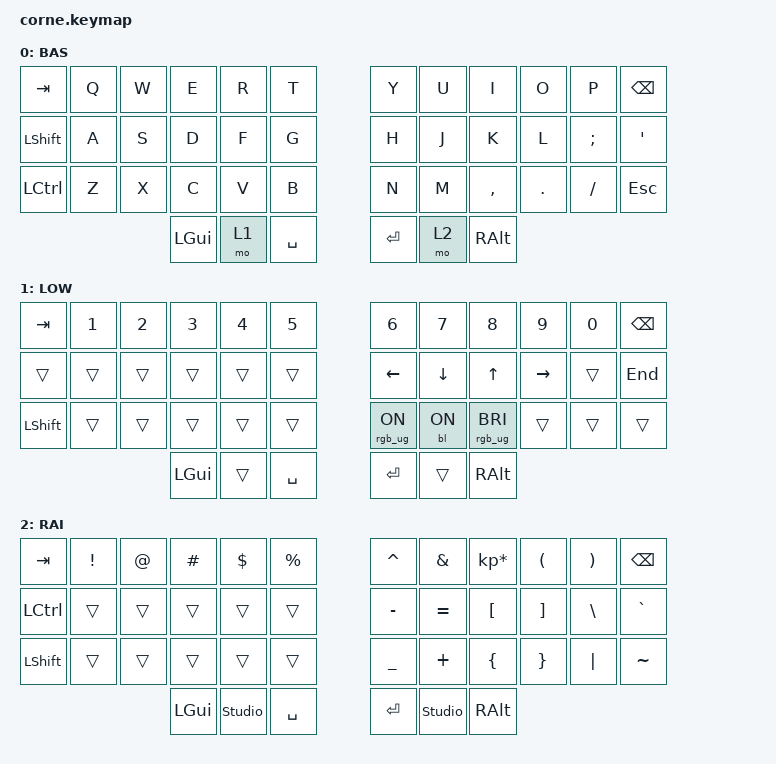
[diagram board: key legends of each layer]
/*
 * Copyright (c) 2020 The ZMK Contributors
 *
 * SPDX-License-Identifier: MIT
 */

#include <dt-bindings/led/led.h>
#include <dt-bindings/zmk/reset.h>
#include <behaviors.dtsi>
#include <dt-bindings/zmk/backlight.h>
#include <dt-bindings/zmk/keys.h>
#include <dt-bindings/zmk/rgb.h>

&led_strip { chain-length = <27>; };

/ {
    combos {
        compatible = "zmk,combos";

        xs {
            bindings = <&kp C_NEXT>;
            key-positions = <34 35>;
        };

        light {
            bindings = <&rgb_ug RGB_TOG>;
            key-positions = <11 0>;
        };
    };

    keymap {
        compatible = "zmk,keymap";

        default_layer {
            display-name = "BAS";

            // -----------------------------------------------------------------------------------------
            // |  TAB |  Q  |  W  |  E  |  R  |  T  |   |  Y  |  U   |  I  |  O  |  P  | BKSP |
            // | CTRL |  A  |  S  |  D  |  F  |  G  |   |  H  |  J   |  K  |  L  |  ;  |  '   |
            // | SHFT |  Z  |  X  |  C  |  V  |  B  |   |  N  |  M   |  ,  |  .  |  /  | ESC  |
            //                    | GUI | LWR | SPC |   | ENT | RSE  | ALT |

            bindings = <
&kp TAB    &kp Q  &kp W  &kp E     &kp R  &kp T        &kp Y    &kp U  &kp I      &kp O    &kp P     &kp BSPC
&kp LSHFT  &kp A  &kp S  &kp D     &kp F  &kp G        &kp H    &kp J  &kp K      &kp L    &kp SEMI  &kp SQT
&kp LCTRL  &kp Z  &kp X  &kp C     &kp V  &kp B        &kp N    &kp M  &kp COMMA  &kp DOT  &kp FSLH  &kp ESC
                         &kp LGUI  &mo 1  &kp SPACE    &kp RET  &mo 2  &kp RALT
            >;
        };

        lower_layer {
            display-name = "LOW";

            // -----------------------------------------------------------------------------------------
            // |  TAB |  1  |  2  |  3  |  4  |  5  |   |  6  |  7  |  8  |  9  |  0  | BKSP |
            // | BTCLR| BT1 | BT2 | BT3 | BT4 | BT5 |   | LFT | DWN |  UP | RGT |     |      |
            // | SHFT |     |     |     |     |     |   |     |     |     |     |     |      |
            //                    | GUI |     | SPC |   | ENT |     | ALT |

            bindings = <
&kp TAB    &kp N1  &kp N2  &kp N3    &kp N4  &kp N5       &kp N6          &kp N7     &kp N8           &kp N9     &kp N0  &kp BSPC
&trans     &trans  &trans  &trans    &trans  &trans       &kp LEFT        &kp DOWN   &kp UP           &kp RIGHT  &trans  &kp END
&kp LSHFT  &trans  &trans  &trans    &trans  &trans       &rgb_ug RGB_ON  &bl BL_ON  &rgb_ug RGB_BRI  &trans     &trans  &trans
                           &kp LGUI  &trans  &kp SPACE    &kp RET         &trans     &kp RALT
            >;
        };

        raise_layer {
            display-name = "RAI";

            // -----------------------------------------------------------------------------------------
            // |  TAB |  !  |  @  |  #  |  $  |  %  |   |  ^  |  &  |  *  |  (  |  )  | BKSP |
            // | CTRL |     |     |     |     |     |   |  -  |  =  |  [  |  ]  |  \  |  `   |
            // | SHFT |     |     |     |     |     |   |  _  |  +  |  {  |  }  | "|" |  ~   |
            //                    | GUI |     | SPC |   | ENT |     | ALT |

            bindings = <
&kp TAB    &kp EXCL  &kp AT  &kp HASH  &kp DLLR        &kp PRCNT    &kp CARET  &kp AMPS        &kp KP_MULTIPLY  &kp LPAR  &kp RPAR  &kp BSPC
&kp LCTRL  &trans    &trans  &trans    &trans          &trans       &kp MINUS  &kp EQUAL       &kp LBKT         &kp RBKT  &kp BSLH  &kp GRAVE
&kp LSHFT  &trans    &trans  &trans    &trans          &trans       &kp UNDER  &kp PLUS        &kp LBRC         &kp RBRC  &kp PIPE  &kp TILDE
                             &kp LGUI  &studio_unlock  &kp SPACE    &kp RET    &studio_unlock  &kp RALT
            >;
        };

        extra_1 { status = "reserved"; };

        extra_2 { status = "reserved"; };

        extra_3 { status = "reserved"; };
    };
};
